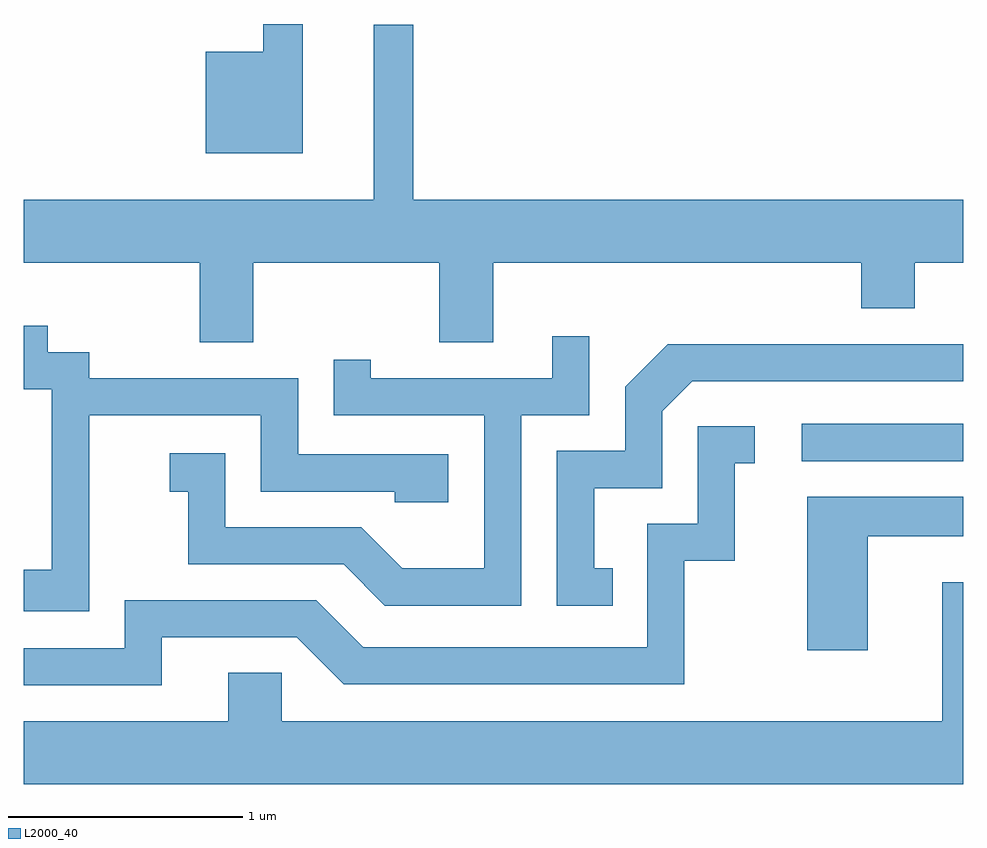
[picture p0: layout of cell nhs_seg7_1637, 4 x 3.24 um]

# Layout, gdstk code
import gdstk
lib = gdstk.Library(unit=1e-6, precision=1e-09)
def R(c, l, rs):  # rectangles x0, y0, x1, y1
    for r in rs: c.add(gdstk.rectangle(r[:2], r[2:], *l))
def P(c, l, *ps):  # polygons
    for p in ps: c.add(gdstk.Polygon(p, *l))
L2000_40 = (2000, 40)

nhs_seg7_1637 = lib.new_cell('nhs_seg7_1637')
R(nhs_seg7_1637, L2000_40, [(238.923,1682.391,239.611,1682.549)])
P(nhs_seg7_1637, L2000_40, [(236.799,1684.252),(236.631,1684.252),(236.631,1684.134),(236.386,1684.134),(236.386,1683.701),(236.799,1683.701)],
  [(236.589,1683.236),(237.381,1683.236),(237.381,1682.896),(237.609,1682.896),(237.609,1683.236),(239.176,1683.236),(239.176,1683.041),(239.404,1683.041),(239.404,1683.236),(239.611,1683.236),(239.611,1683.504),(237.269,1683.504),(237.269,1684.248),(237.101,1684.248),(237.101,1683.504),(235.611,1683.504),(235.611,1683.236),(236.361,1683.236),(236.361,1682.896),(236.589,1682.896)],
  [(235.889,1682.586),(236.621,1682.586),(236.621,1682.261),(237.191,1682.261),(237.191,1682.216),(237.419,1682.216),(237.419,1682.419),(236.779,1682.419),(236.779,1682.744),(235.889,1682.744),(235.889,1682.854),(235.714,1682.854),(235.714,1682.968),(235.611,1682.968),(235.611,1682.696),(235.731,1682.696),(235.731,1681.929),(235.611,1681.929),(235.611,1681.751),(235.889,1681.751)],
  [(237.729,1682.586),(238.019,1682.586),(238.019,1682.923),(237.861,1682.923),(237.861,1682.744),(237.089,1682.744),(237.089,1682.823),(236.931,1682.823),(236.931,1682.586),(237.571,1682.586),(237.571,1681.934),(237.222,1681.934),(237.047,1682.109),(236.469,1682.109),(236.469,1682.424),(236.233,1682.424),(236.233,1682.261),(236.311,1682.261),(236.311,1681.951),(236.974,1681.951),(237.149,1681.776),(237.729,1681.776)],
  [(238.118,1681.934),(238.039,1681.934),(238.039,1682.276),(238.329,1682.276),(238.329,1682.604),(238.457,1682.731),(239.611,1682.731),(239.611,1682.889),(238.354,1682.889),(238.171,1682.707),(238.171,1682.434),(237.881,1682.434),(237.881,1681.776),(238.118,1681.776)],
  [(236.199,1681.641),(236.774,1681.641),(236.974,1681.441),(238.424,1681.441),(238.424,1681.966),(238.639,1681.966),(238.639,1682.381),(238.723,1682.381),(238.723,1682.539),(238.481,1682.539),(238.481,1682.124),(238.266,1682.124),(238.266,1681.599),(237.057,1681.599),(236.857,1681.799),(236.041,1681.799),(236.041,1681.594),(235.611,1681.594),(235.611,1681.436),(236.199,1681.436)],
  [(239.204,1682.071),(239.611,1682.071),(239.611,1682.239),(238.946,1682.239),(238.946,1681.586),(239.204,1681.586)],
  [(239.611,1681.874),(239.521,1681.874),(239.521,1681.284),(236.709,1681.284),(236.709,1681.489),(236.481,1681.489),(236.481,1681.284),(235.611,1681.284),(235.611,1681.016),(239.611,1681.016)])

lib.write_gds('nhs_seg7_1637.gds')
